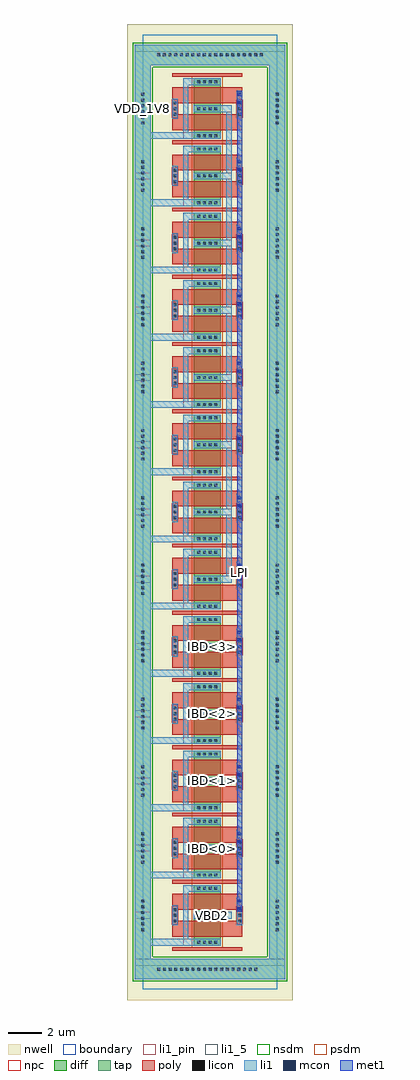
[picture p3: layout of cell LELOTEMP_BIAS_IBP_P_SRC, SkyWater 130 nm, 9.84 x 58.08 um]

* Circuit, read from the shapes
.subckt LELOTEMP_BIAS_IBP_P_SRC IBD<0> IBD<1> IBD<2> IBD<3> LPI VBD1 VBD2 VDD_1V8
XM1 VBD2 LPI VDD_1V8 VDD_1V8 sky130_fd_pr__pfet_01v8 w=1.6 l=0.94 m=2
XM2 IBD<0> LPI VDD_1V8 VDD_1V8 sky130_fd_pr__pfet_01v8 w=1.6 l=0.94 m=2
XM3 IBD<1> LPI VDD_1V8 VDD_1V8 sky130_fd_pr__pfet_01v8 w=1.6 l=0.94 m=2
XM4 IBD<2> LPI VDD_1V8 VDD_1V8 sky130_fd_pr__pfet_01v8 w=1.6 l=0.94 m=2
XM5 IBD<3> LPI VDD_1V8 VDD_1V8 sky130_fd_pr__pfet_01v8 w=1.6 l=0.94 m=2
XM6 VBD1 LPI VDD_1V8 VDD_1V8 sky130_fd_pr__pfet_01v8 w=1.6 l=0.94 m=16
.ends

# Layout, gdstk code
import gdstk
lib = gdstk.Library(unit=1e-6, precision=1e-09)
def R(c, l, rs):  # rectangles x0, y0, x1, y1
    for r in rs: c.add(gdstk.rectangle(r[:2], r[2:], *l))
def A(c, l, x, y, w, h, nx, ny, dx, dy):  # array of equal rectangles
    R(c, l, [(x+i*dx, y+j*dy, x+i*dx+w, y+j*dy+h) for i in range(nx) for j in range(ny)])
nwell = (64, 20)
diff = (65, 20)
tap = (65, 44)
poly = (66, 20)
licon = (66, 44)
li1_5 = (67, 5)
li1_pin = (67, 16)
li1 = (67, 20)
mcon = (67, 44)
met1 = (68, 20)
nsdm = (93, 44)
psdm = (94, 20)
npc = (95, 20)
boundary = (235, 4)

reyatr_pch_4ctapbot = lib.new_cell('REYATR_PCH_4CTAPBOT')
R(reyatr_pch_4ctapbot, nwell, [(-0.92,-0.64,8.92,3.04)])
R(reyatr_pch_4ctapbot, tap, [(-0.48,0.6,8.48,1.8), (-0.48,1.8,0.48,2.6), (7.52,1.8,8.48,2.6)])
A(reyatr_pch_4ctapbot, licon, 0.865, 1.115, 0.17, 0.17, 18, 1, 0.34, 0)
R(reyatr_pch_4ctapbot, li1_5, [(-0.48,1.4,8.48,1.8)])
R(reyatr_pch_4ctapbot, li1, [(-0.48,0.6,8.48,1.8), (-0.48,1.8,0.48,2.6), (7.52,1.8,8.48,2.6)])
R(reyatr_pch_4ctapbot, nsdm, [(-0.605,0.475,8.605,1.925), (-0.605,1.925,0.605,2.725), (7.395,1.925,8.605,2.725)])
R(reyatr_pch_4ctapbot, boundary, [(0,0,8,2.4)])
reyatr_pch_4ctapbot.add(gdstk.Label('B', (4,1.6), layer=67, texttype=5))

reyatr_pch_4c5f0 = lib.new_cell('REYATR_PCH_4C5F0')
R(reyatr_pch_4c5f0, nwell, [(-0.92,-0.64,8.92,4.64)])
R(reyatr_pch_4c5f0, diff, [(3.04,0.2,4.64,3.8)])
R(reyatr_pch_4c5f0, tap, [(-0.48,-0.2,0.48,4.2), (7.52,-0.2,8.48,4.2)])
R(reyatr_pch_4c5f0, poly, [(1.76,-0.11,5.92,0.11), (1.76,0.73,5.92,1.67), (1.76,1.67,2.08,2.33), (5.6,1.67,5.92,2.33), (1.76,2.33,5.92,3.27), (1.76,3.89,5.92,4.11)])
A(reyatr_pch_4c5f0, licon, 3.245, 0.315, 0.17, 0.17, 4, 3, 0.34, 1.6)
A(reyatr_pch_4c5f0, licon, -0.085, 1.065, 0.17, 0.17, 1, 6, 0, 0.34)
A(reyatr_pch_4c5f0, licon, 7.915, 1.065, 0.17, 0.17, 1, 6, 0, 0.34)
A(reyatr_pch_4c5f0, licon, 1.835, 1.575, 0.17, 0.17, 1, 3, 0, 0.34)
A(reyatr_pch_4c5f0, licon, 5.675, 1.575, 0.17, 0.17, 1, 3, 0, 0.34)
R(reyatr_pch_4c5f0, li1_pin, [(2.4,0.2,4.64,0.6), (-0.48,1.8,0.48,2.2), (3.04,1.8,5.28,2.2), (5.6,2.2,5.92,2.6)])
R(reyatr_pch_4c5f0, li1, [(-0.48,-0.2,0.48,4.2), (7.52,-0.2,8.48,4.2), (2.4,0.2,4.64,0.6), (2.4,0.6,2.72,3.4), (1.76,1.4,2.08,2.6), (5.6,1.4,5.92,2.6), (3.04,1.8,5.28,2.2), (2.4,3.4,4.64,3.8)])
R(reyatr_pch_4c5f0, nsdm, [(-0.605,-0.325,0.605,4.325), (7.395,-0.325,8.605,4.325)])
R(reyatr_pch_4c5f0, psdm, [(2.915,0.075,4.765,3.925)])
R(reyatr_pch_4c5f0, npc, [(1.735,1.475,2.105,2.525), (5.575,1.475,5.945,2.525)])
R(reyatr_pch_4c5f0, boundary, [(0,0,8,4)])
reyatr_pch_4c5f0.add(gdstk.Label('D', (4.16,2), layer=67, texttype=5))
reyatr_pch_4c5f0.add(gdstk.Label('G', (5.76,2.4), layer=67, texttype=5))
reyatr_pch_4c5f0.add(gdstk.Label('S', (3.52,0.4), layer=67, texttype=5))
reyatr_pch_4c5f0.add(gdstk.Label('B', (0,2), layer=67, texttype=5))

reyatr_pch_4ctaptop = lib.new_cell('REYATR_PCH_4CTAPTOP')
R(reyatr_pch_4ctaptop, nwell, [(-0.92,-0.64,8.92,3.04)])
R(reyatr_pch_4ctaptop, tap, [(-0.48,-0.2,0.48,0.6), (7.52,-0.2,8.48,0.6), (-0.48,0.6,8.48,1.8)])
A(reyatr_pch_4ctaptop, licon, 0.855, 1.115, 0.17, 0.17, 19, 1, 0.34, 0)
R(reyatr_pch_4ctaptop, li1_5, [(-0.48,1.4,8.48,1.8)])
R(reyatr_pch_4ctaptop, li1, [(-0.48,-0.2,0.48,0.6), (7.52,-0.2,8.48,0.6), (-0.48,0.6,8.48,1.8)])
R(reyatr_pch_4ctaptop, nsdm, [(-0.605,-0.325,0.605,0.475), (7.395,-0.325,8.605,0.475), (-0.605,0.475,8.605,1.925)])
R(reyatr_pch_4ctaptop, boundary, [(0,0,8,2.4)])
reyatr_pch_4ctaptop.add(gdstk.Label('B', (4,1.6), layer=67, texttype=5))

lelotemp_bias_ibp_p_src = lib.new_cell('LELOTEMP_BIAS_IBP_P_SRC')
A(lelotemp_bias_ibp_p_src, li1_pin, 3.04, 4.2, 2.24, 0.4, 1, 6, 0, 4)
R(lelotemp_bias_ibp_p_src, li1_pin, [(5.6,24.6,5.92,25), (-0.48,52.2,0.48,52.6)])
A(lelotemp_bias_ibp_p_src, li1, 0, 2.6, 3.52, 0.4, 1, 13, 0, 4)
A(lelotemp_bias_ibp_p_src, li1, 3.04, 4.2, 2.24, 0.4, 1, 6, 0, 4)
A(lelotemp_bias_ibp_p_src, li1, 5.59, 4.6, 0.32, 0.84, 1, 5, 0, 4)
A(lelotemp_bias_ibp_p_src, li1, 5.61, 5.44, 0.3, 3.16, 1, 12, 0, 4)
A(lelotemp_bias_ibp_p_src, li1, 5.59, 28.6, 0.32, 0.84, 1, 7, 0, 4)
R(lelotemp_bias_ibp_p_src, li1, [(4.98,24.6,5.28,52.4), (5.59,24.6,5.92,25), (5.59,25,5.91,25.44), (-0.48,52.2,0.48,52.6)])
R(lelotemp_bias_ibp_p_src, mcon, [(5.665,4.705,5.835,4.875), (5.665,5.165,5.835,5.335), (5.665,8.705,5.835,8.875), (5.665,9.165,5.835,9.335), (5.665,12.705,5.835,12.875), (5.665,13.165,5.835,13.335), (5.665,16.705,5.835,16.875), (5.665,17.165,5.835,17.335), (5.665,20.705,5.835,20.875), (5.665,21.165,5.835,21.335), (5.665,24.705,5.835,24.875), (5.665,25.165,5.835,25.335), (5.665,28.705,5.835,28.875), (5.665,29.165,5.835,29.335), (5.665,32.705,5.835,32.875), (5.665,33.165,5.835,33.335), (5.665,36.705,5.835,36.875), (5.665,37.165,5.835,37.335), (5.665,40.705,5.835,40.875), (5.665,41.165,5.835,41.335), (5.665,44.705,5.835,44.875), (5.665,45.165,5.835,45.335), (5.665,48.705,5.835,48.875), (5.665,49.165,5.835,49.335), (5.665,52.705,5.835,52.875), (5.665,53.165,5.835,53.335)])
A(lelotemp_bias_ibp_p_src, met1, 5.59, 4.6, 0.34, 0.88, 1, 13, 0, 4)
A(lelotemp_bias_ibp_p_src, met1, 5.61, 5.48, 0.3, 3.12, 1, 12, 0, 4)
A(lelotemp_bias_ibp_p_src, psdm, 2.915, 6.325, 1.85, 0.15, 1, 12, 0, 4)
R(lelotemp_bias_ibp_p_src, boundary, [(0,0,8,56.8)])
lelotemp_bias_ibp_p_src.add(gdstk.Reference(reyatr_pch_4ctapbot, (0,0)))
lelotemp_bias_ibp_p_src.add(gdstk.Reference(reyatr_pch_4c5f0, (0,2.4)))
lelotemp_bias_ibp_p_src.add(gdstk.Reference(reyatr_pch_4c5f0, (0,10.4)))
lelotemp_bias_ibp_p_src.add(gdstk.Reference(reyatr_pch_4c5f0, (0,6.4)))
lelotemp_bias_ibp_p_src.add(gdstk.Reference(reyatr_pch_4c5f0, (0,14.4)))
lelotemp_bias_ibp_p_src.add(gdstk.Reference(reyatr_pch_4c5f0, (0,18.4)))
lelotemp_bias_ibp_p_src.add(gdstk.Reference(reyatr_pch_4c5f0, (0,26.4)))
lelotemp_bias_ibp_p_src.add(gdstk.Reference(reyatr_pch_4c5f0, (0,22.4)))
lelotemp_bias_ibp_p_src.add(gdstk.Reference(reyatr_pch_4c5f0, (0,30.4)))
lelotemp_bias_ibp_p_src.add(gdstk.Reference(reyatr_pch_4c5f0, (0,34.4)))
lelotemp_bias_ibp_p_src.add(gdstk.Reference(reyatr_pch_4c5f0, (0,38.4)))
lelotemp_bias_ibp_p_src.add(gdstk.Reference(reyatr_pch_4c5f0, (0,46.4)))
lelotemp_bias_ibp_p_src.add(gdstk.Reference(reyatr_pch_4c5f0, (0,42.4)))
lelotemp_bias_ibp_p_src.add(gdstk.Reference(reyatr_pch_4c5f0, (0,50.4)))
lelotemp_bias_ibp_p_src.add(gdstk.Reference(reyatr_pch_4ctaptop, (0,54.4)))
lelotemp_bias_ibp_p_src.add(gdstk.Label('IBD<0>', (4.16,8.4), layer=67, texttype=5))
lelotemp_bias_ibp_p_src.add(gdstk.Label('IBD<1>', (4.16,12.4), layer=67, texttype=5))
lelotemp_bias_ibp_p_src.add(gdstk.Label('IBD<2>', (4.16,16.4), layer=67, texttype=5))
lelotemp_bias_ibp_p_src.add(gdstk.Label('IBD<3>', (4.16,20.4), layer=67, texttype=5))
lelotemp_bias_ibp_p_src.add(gdstk.Label('LPI', (5.76,24.8), layer=67, texttype=5))
lelotemp_bias_ibp_p_src.add(gdstk.Label('VBD1', (4.16,24.4), layer=67, texttype=5))
lelotemp_bias_ibp_p_src.add(gdstk.Label('VBD2', (4.16,4.4), layer=67, texttype=5))
lelotemp_bias_ibp_p_src.add(gdstk.Label('VDD_1V8', (0,52.4), layer=67, texttype=5))

lib.write_gds('LELOTEMP_BIAS_IBP_P_SRC.gds')
